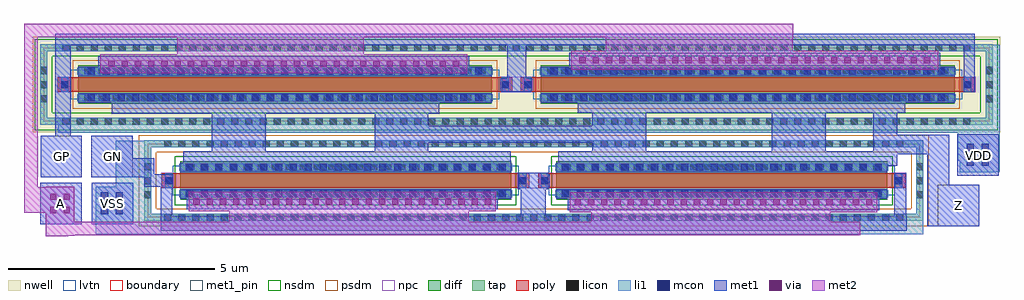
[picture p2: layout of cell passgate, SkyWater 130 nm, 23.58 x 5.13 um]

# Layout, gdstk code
from math import pi, radians
import gdstk
lib = gdstk.Library(unit=1e-6, precision=1e-09)
def R(c, l, rs):  # rectangles x0, y0, x1, y1
    for r in rs: c.add(gdstk.rectangle(r[:2], r[2:], *l))
def A(c, l, x, y, w, h, nx, ny, dx, dy):  # array of equal rectangles
    R(c, l, [(x+i*dx, y+j*dy, x+i*dx+w, y+j*dy+h) for i in range(nx) for j in range(ny)])
nwell = (64, 20)
diff = (65, 20)
tap = (65, 44)
poly = (66, 20)
licon = (66, 44)
li1 = (67, 20)
mcon = (67, 44)
met1_pin = (68, 16)
met1 = (68, 20)
via = (68, 44)
met2 = (69, 20)
nsdm = (93, 44)
psdm = (94, 20)
npc = (95, 20)
lvtn = (125, 44)
boundary = (235, 4)

sky130_fd_pr__pfet_01v8_ = lib.new_cell('sky130_fd_pr__pfet_01v8_lvt_4QFMR3')
R(sky130_fd_pr__pfet_01v8_, nwell, [(-1.155,-11.685,1.155,11.685)])
R(sky130_fd_pr__pfet_01v8_, diff, [(-0.465,-10.59,0.465,-0.59), (-0.465,0.59,0.465,10.59)])
R(sky130_fd_pr__pfet_01v8_, tap, [(-0.975,-11.505,0.975,-11.335), (-0.975,-11.335,-0.805,11.335), (0.805,-11.335,0.975,11.335), (-0.975,11.335,0.975,11.505)])
R(sky130_fd_pr__pfet_01v8_, poly, [(-0.175,-11.075,0.175,-0.105), (-0.175,0.105,0.175,11.075)])
A(sky130_fd_pr__pfet_01v8_, licon, -0.425, -11.505, 0.17, 0.17, 3, 2, 0.34, 22.84)
A(sky130_fd_pr__pfet_01v8_, licon, -0.975, -10.965, 0.17, 0.17, 1, 65, 0, 0.34)
A(sky130_fd_pr__pfet_01v8_, licon, 0.805, -10.965, 0.17, 0.17, 1, 65, 0, 0.34)
A(sky130_fd_pr__pfet_01v8_, licon, -0.405, -10.435, 0.17, 0.17, 1, 29, 0, 0.34)
A(sky130_fd_pr__pfet_01v8_, licon, 0.235, -10.435, 0.17, 0.17, 1, 29, 0, 0.34)
A(sky130_fd_pr__pfet_01v8_, licon, -0.405, 0.745, 0.17, 0.17, 1, 29, 0, 0.34)
A(sky130_fd_pr__pfet_01v8_, licon, 0.235, 0.745, 0.17, 0.17, 1, 29, 0, 0.34)
R(sky130_fd_pr__pfet_01v8_, licon, [(-0.085,-10.995,0.085,-10.825), (-0.085,-0.355,0.085,-0.185), (-0.085,0.185,0.085,0.355), (-0.085,10.825,0.085,10.995)])
R(sky130_fd_pr__pfet_01v8_, li1, [(-0.975,-11.505,0.975,-11.335), (-0.975,-11.335,-0.805,11.335), (0.805,-11.335,0.975,11.335), (-0.175,-10.995,0.175,-10.825), (-0.405,-10.61,-0.235,-0.57), (0.235,-10.61,0.405,-0.57), (-0.175,-0.355,0.175,-0.185), (-0.175,0.185,0.175,0.355), (-0.405,0.57,-0.235,10.61), (0.235,0.57,0.405,10.61), (-0.175,10.825,0.175,10.995), (-0.975,11.335,0.975,11.505)])
A(sky130_fd_pr__pfet_01v8_, mcon, -0.405, -10.355, 0.17, 0.17, 1, 27, 0, 0.36)
A(sky130_fd_pr__pfet_01v8_, mcon, 0.235, -10.355, 0.17, 0.17, 1, 27, 0, 0.36)
A(sky130_fd_pr__pfet_01v8_, mcon, -0.405, 0.825, 0.17, 0.17, 1, 27, 0, 0.36)
A(sky130_fd_pr__pfet_01v8_, mcon, 0.235, 0.825, 0.17, 0.17, 1, 27, 0, 0.36)
R(sky130_fd_pr__pfet_01v8_, mcon, [(-0.085,-10.995,0.085,-10.825), (-0.085,-0.355,0.085,-0.185), (-0.085,0.185,0.085,0.355), (-0.085,10.825,0.085,10.995)])
R(sky130_fd_pr__pfet_01v8_, met1, [(-0.155,-11.025,0.155,-10.795), (-0.435,-10.59,-0.205,-0.59), (0.205,-10.59,0.435,-0.59), (-0.155,-0.385,0.155,-0.155), (-0.155,0.155,0.155,0.385), (-0.435,0.59,-0.205,10.59), (0.205,0.59,0.435,10.59), (-0.155,10.795,0.155,11.025)])
R(sky130_fd_pr__pfet_01v8_, nsdm, [(-1.1,-11.63,1.1,-11.21), (-1.1,-11.21,-0.68,11.21), (0.68,-11.21,1.1,11.21), (-1.1,11.21,1.1,11.63)])
R(sky130_fd_pr__pfet_01v8_, psdm, [(-0.59,-10.715,0.59,-0.465), (-0.59,0.465,0.59,10.715)])
R(sky130_fd_pr__pfet_01v8_, npc, [(-0.185,-11.095,0.185,-10.725), (-0.185,-0.455,0.185,0.455), (-0.185,10.725,0.185,11.095)])
R(sky130_fd_pr__pfet_01v8_, lvtn, [(-0.355,-10.77,0.355,-0.41), (-0.355,0.41,0.355,10.77)])
R(sky130_fd_pr__pfet_01v8_, boundary, [(-0.89,-11.42,0.89,11.42)])

sky130_fd_pr__nfet_01v8_ = lib.new_cell('sky130_fd_pr__nfet_01v8_lvt_PEJ72P')
R(sky130_fd_pr__nfet_01v8_, diff, [(-0.465,-8.545,0.465,-0.545), (-0.465,0.545,0.465,8.545)])
R(sky130_fd_pr__nfet_01v8_, tap, [(-0.975,-9.415,0.975,-9.245), (-0.975,-9.245,-0.805,9.245), (0.805,-9.245,0.975,9.245), (-0.975,9.245,0.975,9.415)])
R(sky130_fd_pr__nfet_01v8_, poly, [(-0.175,-8.985,0.175,-0.105), (-0.175,0.105,0.175,8.985)])
A(sky130_fd_pr__nfet_01v8_, licon, -0.425, -9.415, 0.17, 0.17, 3, 2, 0.34, 18.66)
A(sky130_fd_pr__nfet_01v8_, licon, -0.975, -8.925, 0.17, 0.17, 1, 53, 0, 0.34)
A(sky130_fd_pr__nfet_01v8_, licon, 0.805, -8.925, 0.17, 0.17, 1, 53, 0, 0.34)
A(sky130_fd_pr__nfet_01v8_, licon, -0.405, -8.37, 0.17, 0.17, 1, 23, 0, 0.34)
A(sky130_fd_pr__nfet_01v8_, licon, 0.235, -8.37, 0.17, 0.17, 1, 23, 0, 0.34)
A(sky130_fd_pr__nfet_01v8_, licon, -0.405, 0.72, 0.17, 0.17, 1, 23, 0, 0.34)
A(sky130_fd_pr__nfet_01v8_, licon, 0.235, 0.72, 0.17, 0.17, 1, 23, 0, 0.34)
R(sky130_fd_pr__nfet_01v8_, licon, [(-0.085,-8.905,0.085,-8.735), (-0.085,-0.355,0.085,-0.185), (-0.085,0.185,0.085,0.355), (-0.085,8.735,0.085,8.905)])
R(sky130_fd_pr__nfet_01v8_, li1, [(-0.975,-9.415,0.975,-9.245), (-0.975,-9.245,-0.805,9.245), (0.805,-9.245,0.975,9.245), (-0.175,-8.905,0.175,-8.735), (-0.405,-8.565,-0.235,-0.525), (0.235,-8.565,0.405,-0.525), (-0.175,-0.355,0.175,-0.185), (-0.175,0.185,0.175,0.355), (-0.405,0.525,-0.235,8.565), (0.235,0.525,0.405,8.565), (-0.175,8.735,0.175,8.905), (-0.975,9.245,0.975,9.415)])
A(sky130_fd_pr__nfet_01v8_, mcon, -0.405, -8.41, 0.17, 0.17, 1, 22, 0, 0.36)
A(sky130_fd_pr__nfet_01v8_, mcon, 0.235, -8.41, 0.17, 0.17, 1, 22, 0, 0.36)
A(sky130_fd_pr__nfet_01v8_, mcon, -0.405, 0.68, 0.17, 0.17, 1, 22, 0, 0.36)
A(sky130_fd_pr__nfet_01v8_, mcon, 0.235, 0.68, 0.17, 0.17, 1, 22, 0, 0.36)
R(sky130_fd_pr__nfet_01v8_, mcon, [(-0.085,-8.905,0.085,-8.735), (-0.085,-0.355,0.085,-0.185), (-0.085,0.185,0.085,0.355), (-0.085,8.735,0.085,8.905)])
R(sky130_fd_pr__nfet_01v8_, met1, [(-0.155,-8.935,0.155,-8.705), (-0.435,-8.545,-0.205,-0.545), (0.205,-8.545,0.435,-0.545), (-0.155,-0.385,0.155,-0.155), (-0.155,0.155,0.155,0.385), (-0.435,0.545,-0.205,8.545), (0.205,0.545,0.435,8.545), (-0.155,8.705,0.155,8.935)])
R(sky130_fd_pr__nfet_01v8_, nsdm, [(-0.59,-8.67,0.59,-0.42), (-0.59,0.42,0.59,8.67)])
R(sky130_fd_pr__nfet_01v8_, psdm, [(-1.1,-9.54,1.1,-9.12), (-1.1,-9.12,-0.68,9.12), (0.68,-9.12,1.1,9.12), (-1.1,9.12,1.1,9.54)])
R(sky130_fd_pr__nfet_01v8_, npc, [(-0.185,-9.005,0.185,-8.635), (-0.185,-0.455,0.185,0.455), (-0.185,8.635,0.185,9.005)])
R(sky130_fd_pr__nfet_01v8_, lvtn, [(-0.355,-8.725,0.355,-0.365), (-0.355,0.365,0.355,8.725)])
R(sky130_fd_pr__nfet_01v8_, boundary, [(-0.89,-9.33,0.89,9.33)])

passgate = lib.new_cell('passgate')
R(passgate, li1, [(18.51,-4.4,38.5,-3.96), (18.51,-3.96,19.85,-3.25), (19,-3.25,19.85,-2.14), (39.39,-2.9,40.25,-2.89), (39.39,-2.89,40.35,-2.63), (39.34,-2.63,40.35,-1.95), (17.61,-1.95,40.35,-1.6), (39.34,-1.6,40.35,-1.59), (40.01,-1.59,40.35,0.18)])
R(passgate, mcon, [(18.64,-3.92,18.81,-3.75), (19,-3.92,19.17,-3.75), (18.64,-3.56,18.81,-3.39), (19,-3.56,19.17,-3.39), (39.555,-2.745,39.725,-2.575), (39.915,-2.745,40.085,-2.575), (39.555,-2.385,39.725,-2.215), (39.915,-2.385,40.085,-2.215)])
R(passgate, met1_pin, [(38.86,-4.21,39.86,-3.21), (17.17,-4.16,18.17,-3.16), (18.42,-4.16,19.42,-3.16), (17.18,-3.02,18.18,-2.02), (18.41,-3.02,19.41,-2.02), (39.33,-2.99,40.33,-1.99)])
R(passgate, met1, [(20.08,-4.32,38.11,-3.96), (38.6,-4.21,39.86,-3.21), (17.17,-4.16,18.17,-3.16), (18.42,-4.16,19.42,-3.16), (20.08,-3.96,20.36,-3.25), (28.78,-3.96,29.38,-3.32), (37.8,-3.96,38.1,-2.93), (29.92,-3.82,37.44,-3.44), (20.71,-3.8,28.23,-3.42), (29.93,-3.44,37.35,-3.34), (20.76,-3.42,28.18,-3.33), (28.71,-3.32,29.45,-2.92), (19.68,-3.25,20.39,-3.02), (38.6,-3.21,39.13,-2.47), (17.18,-3.02,18.18,-2.02), (18.41,-3.02,20.39,-2.95), (39.33,-2.99,40.33,-1.99), (18.41,-2.95,19.93,-2.56), (20.63,-2.86,28.54,-2.4), (29.69,-2.85,37.6,-2.75), (29.69,-2.75,37.88,-2.47), (18.41,-2.56,19.41,-2.02), (29.69,-2.47,39.13,-2.39), (21.32,-2.4,22.62,-1.49), (25.25,-2.4,26.55,-2.19), (30.51,-2.39,31.81,-2.19), (34.85,-2.39,36.15,-1.46), (37.3,-2.39,39.13,-2), (25.25,-2.19,31.81,-1.78), (17.54,-2.02,17.91,0.17), (37.3,-2,37.88,-1.46), (25.25,-1.78,26.55,-1.49), (30.51,-1.78,31.81,-1.46), (18.9,-1.49,26.81,-1.03), (30.16,-1.46,38.07,-1), (39.48,-0.97,39.75,0.17), (28.31,-0.96,29.04,-0.63), (28.46,-0.63,28.91,0.17), (18.62,-0.56,27.49,-0.46), (29.98,-0.53,38.85,-0.38), (18.57,-0.46,27.54,-0.1), (29.95,-0.38,38.92,-0.02), (17.54,0.17,39.75,0.44)])
A(passgate, via, 30.085, -3.705, 0.15, 0.15, 23, 1, 0.32, 0)
A(passgate, via, 20.875, -3.685, 0.15, 0.15, 23, 1, 0.32, 0)
A(passgate, via, 18.82, -0.355, 0.15, 0.15, 27, 1, 0.32, 0)
A(passgate, via, 30.2, -0.275, 0.15, 0.15, 27, 1, 0.32, 0)
R(passgate, via, [(17.415,-3.89,17.565,-3.74), (17.735,-3.89,17.885,-3.74), (17.415,-3.57,17.565,-3.42), (17.735,-3.57,17.885,-3.42)])
R(passgate, met2, [(17.3,-4.45,17.85,-4.44), (17.3,-4.44,18,-4.43), (17.3,-4.43,36.98,-4.1), (17.3,-4.1,18,-3.88), (21.74,-4.1,27.52,-3.85), (30.48,-4.1,36.26,-3.87), (16.79,-3.88,18,-3.86), (29.97,-3.87,37.39,-3.39), (16.78,-3.86,18,-3.27), (20.76,-3.85,28.18,-3.37), (16.78,-3.27,17.11,0.355), (17.3,-3.27,18,-3.25), (18.62,-0.51,27.49,-0.05), (30,-0.43,38.87,0.03), (20.48,-0.05,24.99,0.355), (30.84,0.03,35.35,0.355), (16.78,0.355,35.365,0.685)])
passgate.add(gdstk.Reference(sky130_fd_pr__pfet_01v8_, (28.675,-0.785), rotation=pi/2))
passgate.add(gdstk.Reference(sky130_fd_pr__nfet_01v8_, (29.095,-3.105), rotation=pi/2))
passgate.add(gdstk.Label('A', (17.67,-3.66), layer=68, texttype=5))
passgate.add(gdstk.Label('GN', (18.91,-2.52), layer=68, texttype=5))
passgate.add(gdstk.Label('GP', (17.68,-2.52), layer=68, texttype=5))
passgate.add(gdstk.Label('Z', (39.36,-3.71), layer=68, texttype=5))
passgate.add(gdstk.Label('VDD', (39.83,-2.49), layer=68, texttype=5))
passgate.add(gdstk.Label('VSS', (18.92,-3.66), layer=68, texttype=5))

lib.write_gds('passgate.gds')
